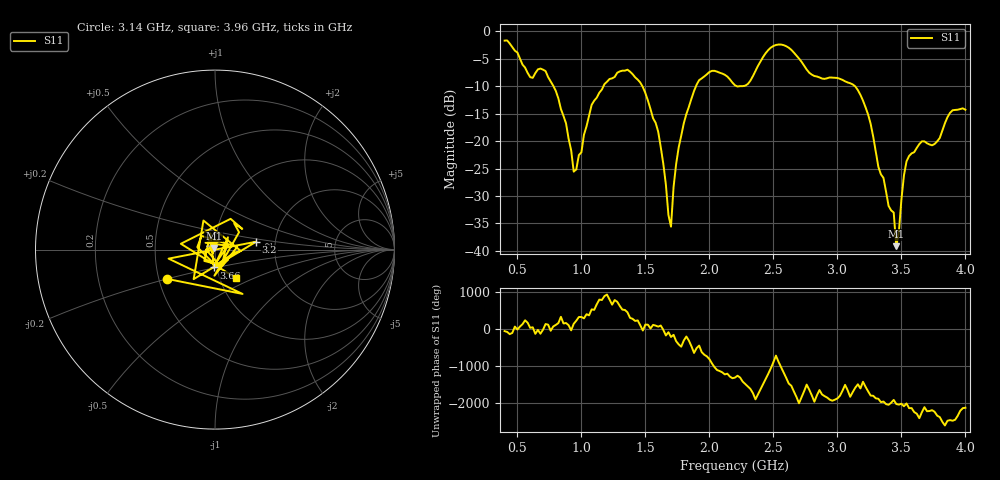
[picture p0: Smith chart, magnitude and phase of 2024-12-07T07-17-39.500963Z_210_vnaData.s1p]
!Created with skrf (http://scikit-rf.org).
# Hz S RI R 50.0
!freq ReS11 ImS11
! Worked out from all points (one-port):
!   181 points, 400 MHz to 4 GHz, reference 50 ohm
!   lowest |S11| = -39.1 dB at 3.46 GHz (marker M1), VSWR 1.02, Z = 49.3 + j0.845 ohm
!   |S11| at or under -10 dB: 781.6 MHz to 1.172 GHz (390.8 MHz wide, 40 % of centre); 1.476 GHz to 1.895 GHz (419 MHz wide, 24.9 % of centre); 3.138 GHz to end of sweep (the widest 3 of 4)
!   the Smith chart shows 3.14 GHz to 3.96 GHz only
!   S11 on the Smith chart (normalised r, x): 3.14 GHz: 0.55, -0.20; 3.2 GHz: 1.59, +0.15; 3.66 GHz: 0.97, -0.19; 3.96 GHz: 1.19, -0.39
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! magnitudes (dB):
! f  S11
! 400 MHz  -1.7
! 600 MHz  -8.4
! 720 MHz  -7.2
! 860 MHz  -15.4
! 940 MHz  -25.6
! 1.08 GHz  -13.4
! 1.3 GHz  -7.3
! 1.46 GHz  -9.3
! 1.58 GHz  -16.7
! 1.7 GHz  -35.6
! 1.72 GHz  -28.4
! 1.76 GHz  -21.2
! 1.92 GHz  -8.9
! 2.2 GHz  -9.8
! 2.5 GHz  -2.7
! 2.66 GHz  -3.9
! 2.82 GHz  -8.1
! 3.1 GHz  -9.5
! 3.14 GHz  -10.0
! 3.2 GHz  -12.6
! 3.44 GHz  -33.0
! 3.46 GHz  -39.1
! 3.52 GHz  -26.2
! 3.56 GHz  -22.7
! 3.66 GHz  -20.0
! 3.76 GHz  -20.5
! 3.96 GHz  -14.2
! 4 GHz  -14.3
